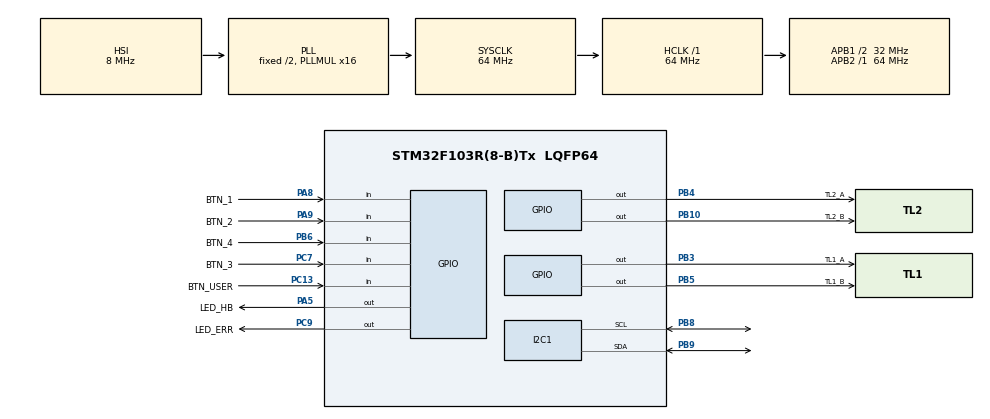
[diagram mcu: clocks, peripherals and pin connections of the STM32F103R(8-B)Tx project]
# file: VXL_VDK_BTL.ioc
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Mcu.Family=STM32F1
Mcu.Name=STM32F103R(8-B)Tx
Mcu.Package=LQFP64
NVIC.PriorityGroup=NVIC_PRIORITYGROUP_4
NVIC.TIM2_IRQn=true\:0\:0\:false\:false\:true\:true\:true
PA13.GPIO_Label=TMS
PA13.Mode=Serial_Wire
PA13.Signal=SYS_JTMS-SWDIO
PA14.GPIO_Label=TCK
PA14.Mode=Serial_Wire
PA14.Signal=SYS_JTCK-SWCLK
PA2.GPIO_Label=USART_TX
PA2.GPIO_Mode=GPIO_MODE_AF_PP
PA2.GPIO_PuPd=GPIO_NOPULL
PA2.GPIO_Speed=GPIO_SPEED_FREQ_LOW
PA2.Signal=USART2_TX
PA3.GPIO_Label=USART_RX
PA3.GPIO_Mode=GPIO_MODE_AF_PP
PA3.GPIO_PuPd=GPIO_NOPULL
PA3.GPIO_Speed=GPIO_SPEED_FREQ_LOW
PA3.Signal=USART2_RX
PA5.GPIO_Label=LED_HB
PA5.GPIO_ModeDefaultOutputPP=GPIO_MODE_OUTPUT_PP
PA5.GPIO_PuPd=GPIO_NOPULL
PA5.GPIO_Speed=GPIO_SPEED_FREQ_LOW
PA5.Signal=GPIO_Output
PA8.GPIO_Label=BTN_1
PA8.GPIO_PuPd=GPIO_PULLUP
PA8.Signal=GPIO_Input
PA9.GPIO_Label=BTN_2
PA9.GPIO_PuPd=GPIO_PULLUP
PA9.Signal=GPIO_Input
PB10.GPIO_Label=TL2_B
PB10.Signal=GPIO_Output
PB3.GPIO_Label=TL1_A
PB3.Signal=GPIO_Output
PB4.GPIO_Label=TL2_A
PB4.Signal=GPIO_Output
PB5.GPIO_Label=TL1_B
PB5.Signal=GPIO_Output
PB6.GPIO_Label=BTN_4
PB6.GPIO_PuPd=GPIO_PULLUP
PB6.Signal=GPIO_Input
PB8.Mode=I2C
PB8.Signal=I2C1_SCL
PB9.Mode=I2C
PB9.Signal=I2C1_SDA
PC13-TAMPER-RTC.GPIO_Label=BTN_USER
PC13-TAMPER-RTC.Signal=GPIO_Input
PC14-OSC32_IN.Signal=RCC_OSC32_IN
PC15-OSC32_OUT.Signal=RCC_OSC32_OUT
PC7.GPIO_Label=BTN_3
PC7.GPIO_PuPd=GPIO_PULLUP
PC7.Signal=GPIO_Input
PC9.GPIO_Label=LED_ERR
PC9.Signal=GPIO_Output
PD0-OSC_IN.Signal=RCC_OSC_IN
PD1-OSC_OUT.Signal=RCC_OSC_OUT
ProjectManager.HeapSize=0x200
ProjectManager.StackSize=0x400
ProjectManager.TargetToolchain=STM32CubeIDE
RCC.AHBFreq_Value=64000000
RCC.APB1CLKDivider=RCC_HCLK_DIV2
RCC.APB1Freq_Value=32000000
RCC.APB1TimFreq_Value=64000000
RCC.APB2Freq_Value=64000000
RCC.APB2TimFreq_Value=64000000
RCC.HCLKFreq_Value=64000000
RCC.PLLMUL=RCC_PLL_MUL16
RCC.SYSCLKFreq_VALUE=64000000
RCC.SYSCLKSource=RCC_SYSCLKSOURCE_PLLCLK
RCC.USBFreq_Value=64000000
TIM2.Period=99
TIM2.Prescaler=6399
VP_TIM2_VS_ClockSourceINT.Mode=Internal
board=NUCLEO-F103RB

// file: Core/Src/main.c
/* USER CODE BEGIN Header */
/**
  ******************************************************************************
  * @file           : main.c
  * @brief          : Main program body
  ******************************************************************************
  * @attention
  *
  * <h2><center>&copy; Copyright (c) 2026 STMicroelectronics.
  * All rights reserved.</center></h2>
  *
  * This software component is licensed by ST under BSD 3-Clause license,
  * the "License"; You may not use this file except in compliance with the
  * License. You may obtain a copy of the License at:
  *                        opensource.org/licenses/BSD-3-Clause
  *
  ******************************************************************************
  */
/* USER CODE END Header */
#include "main.h"

/* USER CODE BEGIN Includes */
#include "global.h"
#include "scheduler.h"
#include "software_timer.h"
#include "button.h"
#include "traffic_light.h"
#include "i2c_bus.h"
#include "lcd.h"
#include "dht20.h"
#include "display.h"
#include "fsm_mode.h"
/* USER CODE END Includes */

I2C_HandleTypeDef hi2c1;

TIM_HandleTypeDef htim2;

void SystemClock_Config(void);
static void MX_GPIO_Init(void);
static void MX_I2C1_Init(void);
static void MX_TIM2_Init(void);

/* USER CODE BEGIN 0 */
void heartbeat(void) {
	HAL_GPIO_TogglePin(LED_HB_GPIO_Port, LED_HB_Pin);
}
/* USER CODE END 0 */

int main(void)
{

  /* MCU Configuration--------------------------------------------------------*/

  /* Reset of all peripherals, Initializes the Flash interface and the Systick. */
  HAL_Init();

  /* Configure the system clock */
  SystemClock_Config();

  /* Initialize all configured peripherals */
  MX_GPIO_Init();
  MX_I2C1_Init();
  MX_TIM2_Init();
  /* USER CODE BEGIN 2 */
  i2c_bus_recover();
  lcd_init();
  dht20_init();
  display_init();
  lcd_flush_all();
  timer_init();
  button_init();
  traffic_init();
  SCH_Init();
  SCH_Add_Task(timer_run, 0, 1);
  SCH_Add_Task(button_read, 0, 1);
  SCH_Add_Task(fsm_mode_run, 1, 1);
  SCH_Add_Task(display_update, 3, 25);
  SCH_Add_Task(lcd_flush, 5, 1);
  SCH_Add_Task(dht20_trigger, 100, 200);
  SCH_Add_Task(heartbeat, 0, 50);
  fsm_mode_init();
  HAL_TIM_Base_Start_IT(&htim2);
  /* USER CODE END 2 */

  /* Infinite loop */
  while (1)
  {

    /* USER CODE BEGIN 3 */
	  SCH_Dispatch_Tasks();
  }
  /* USER CODE END 3 */
}

void SystemClock_Config(void)
{
  RCC_OscInitTypeDef RCC_OscInitStruct = {0};
  RCC_ClkInitTypeDef RCC_ClkInitStruct = {0};

  /** Initializes the RCC Oscillators according to the specified parameters
  * in the RCC_OscInitTypeDef structure.
  */
  RCC_OscInitStruct.OscillatorType = RCC_OSCILLATORTYPE_HSI;
  RCC_OscInitStruct.HSIState = RCC_HSI_ON;
  RCC_OscInitStruct.HSICalibrationValue = RCC_HSICALIBRATION_DEFAULT;
  RCC_OscInitStruct.PLL.PLLState = RCC_PLL_ON;
  RCC_OscInitStruct.PLL.PLLSource = RCC_PLLSOURCE_HSI_DIV2;
  RCC_OscInitStruct.PLL.PLLMUL = RCC_PLL_MUL16;
  if (HAL_RCC_OscConfig(&RCC_OscInitStruct) != HAL_OK)
  {
    Error_Handler();
  }
  /** Initializes the CPU, AHB and APB buses clocks
  */
  RCC_ClkInitStruct.ClockType = RCC_CLOCKTYPE_HCLK|RCC_CLOCKTYPE_SYSCLK
                              |RCC_CLOCKTYPE_PCLK1|RCC_CLOCKTYPE_PCLK2;
  RCC_ClkInitStruct.SYSCLKSource = RCC_SYSCLKSOURCE_PLLCLK;
  RCC_ClkInitStruct.AHBCLKDivider = RCC_SYSCLK_DIV1;
  RCC_ClkInitStruct.APB1CLKDivider = RCC_HCLK_DIV2;
  RCC_ClkInitStruct.APB2CLKDivider = RCC_HCLK_DIV1;

  if (HAL_RCC_ClockConfig(&RCC_ClkInitStruct, FLASH_LATENCY_2) != HAL_OK)
  {
    Error_Handler();
  }
}

static void MX_I2C1_Init(void)
{

  hi2c1.Instance = I2C1;
  hi2c1.Init.ClockSpeed = 100000;
  hi2c1.Init.DutyCycle = I2C_DUTYCYCLE_2;
  hi2c1.Init.OwnAddress1 = 0;
  hi2c1.Init.AddressingMode = I2C_ADDRESSINGMODE_7BIT;
  hi2c1.Init.DualAddressMode = I2C_DUALADDRESS_DISABLE;
  hi2c1.Init.OwnAddress2 = 0;
  hi2c1.Init.GeneralCallMode = I2C_GENERALCALL_DISABLE;
  hi2c1.Init.NoStretchMode = I2C_NOSTRETCH_DISABLE;
  if (HAL_I2C_Init(&hi2c1) != HAL_OK)
  {
    Error_Handler();
  }

}

static void MX_TIM2_Init(void)
{

  TIM_ClockConfigTypeDef sClockSourceConfig = {0};
  TIM_MasterConfigTypeDef sMasterConfig = {0};

  htim2.Instance = TIM2;
  htim2.Init.Prescaler = 6399;
  htim2.Init.CounterMode = TIM_COUNTERMODE_UP;
  htim2.Init.Period = 99;
  htim2.Init.ClockDivision = TIM_CLOCKDIVISION_DIV1;
  htim2.Init.AutoReloadPreload = TIM_AUTORELOAD_PRELOAD_DISABLE;
  if (HAL_TIM_Base_Init(&htim2) != HAL_OK)
  {
    Error_Handler();
  }
  sClockSourceConfig.ClockSource = TIM_CLOCKSOURCE_INTERNAL;
  if (HAL_TIM_ConfigClockSource(&htim2, &sClockSourceConfig) != HAL_OK)
  {
    Error_Handler();
  }
  sMasterConfig.MasterOutputTrigger = TIM_TRGO_RESET;
  sMasterConfig.MasterSlaveMode = TIM_MASTERSLAVEMODE_DISABLE;
  if (HAL_TIMEx_MasterConfigSynchronization(&htim2, &sMasterConfig) != HAL_OK)
  {
    Error_Handler();
  }

}

static void MX_GPIO_Init(void)
{
  GPIO_InitTypeDef GPIO_InitStruct = {0};

  /* GPIO Ports Clock Enable */
  __HAL_RCC_GPIOC_CLK_ENABLE();
  __HAL_RCC_GPIOD_CLK_ENABLE();
  __HAL_RCC_GPIOA_CLK_ENABLE();
  __HAL_RCC_GPIOB_CLK_ENABLE();

  /*Configure GPIO pin Output Level */
  HAL_GPIO_WritePin(LED_HB_GPIO_Port, LED_HB_Pin, GPIO_PIN_RESET);

  /*Configure GPIO pin Output Level */
  HAL_GPIO_WritePin(GPIOB, TL2_B_Pin|TL1_A_Pin|TL2_A_Pin|TL1_B_Pin, GPIO_PIN_RESET);

  /*Configure GPIO pin Output Level */
  HAL_GPIO_WritePin(LED_ERR_GPIO_Port, LED_ERR_Pin, GPIO_PIN_RESET);

  /*Configure GPIO pin : BTN_USER_Pin */
  GPIO_InitStruct.Pin = BTN_USER_Pin;
  GPIO_InitStruct.Mode = GPIO_MODE_INPUT;
  GPIO_InitStruct.Pull = GPIO_NOPULL;
  HAL_GPIO_Init(BTN_USER_GPIO_Port, &GPIO_InitStruct);

  /*Configure GPIO pins : USART_TX_Pin USART_RX_Pin */
  GPIO_InitStruct.Pin = USART_TX_Pin|USART_RX_Pin;
  GPIO_InitStruct.Mode = GPIO_MODE_AF_PP;
  GPIO_InitStruct.Speed = GPIO_SPEED_FREQ_LOW;
  HAL_GPIO_Init(GPIOA, &GPIO_InitStruct);

  /*Configure GPIO pin : LED_HB_Pin */
  GPIO_InitStruct.Pin = LED_HB_Pin;
  GPIO_InitStruct.Mode = GPIO_MODE_OUTPUT_PP;
  GPIO_InitStruct.Pull = GPIO_NOPULL;
  GPIO_InitStruct.Speed = GPIO_SPEED_FREQ_LOW;
  HAL_GPIO_Init(LED_HB_GPIO_Port, &GPIO_InitStruct);

  /*Configure GPIO pins : TL2_B_Pin TL1_A_Pin TL2_A_Pin TL1_B_Pin */
  GPIO_InitStruct.Pin = TL2_B_Pin|TL1_A_Pin|TL2_A_Pin|TL1_B_Pin;
  GPIO_InitStruct.Mode = GPIO_MODE_OUTPUT_PP;
  GPIO_InitStruct.Pull = GPIO_NOPULL;
  GPIO_InitStruct.Speed = GPIO_SPEED_FREQ_LOW;
  HAL_GPIO_Init(GPIOB, &GPIO_InitStruct);

  /*Configure GPIO pin : BTN_3_Pin */
  GPIO_InitStruct.Pin = BTN_3_Pin;
  GPIO_InitStruct.Mode = GPIO_MODE_INPUT;
  GPIO_InitStruct.Pull = GPIO_PULLUP;
  HAL_GPIO_Init(BTN_3_GPIO_Port, &GPIO_InitStruct);

  /*Configure GPIO pin : LED_ERR_Pin */
  GPIO_InitStruct.Pin = LED_ERR_Pin;
  GPIO_InitStruct.Mode = GPIO_MODE_OUTPUT_PP;
  GPIO_InitStruct.Pull = GPIO_NOPULL;
  GPIO_InitStruct.Speed = GPIO_SPEED_FREQ_LOW;
  HAL_GPIO_Init(LED_ERR_GPIO_Port, &GPIO_InitStruct);

  /*Configure GPIO pins : BTN_1_Pin BTN_2_Pin */
  GPIO_InitStruct.Pin = BTN_1_Pin|BTN_2_Pin;
  GPIO_InitStruct.Mode = GPIO_MODE_INPUT;
  GPIO_InitStruct.Pull = GPIO_PULLUP;
  HAL_GPIO_Init(GPIOA, &GPIO_InitStruct);

  /*Configure GPIO pin : BTN_4_Pin */
  GPIO_InitStruct.Pin = BTN_4_Pin;
  GPIO_InitStruct.Mode = GPIO_MODE_INPUT;
  GPIO_InitStruct.Pull = GPIO_PULLUP;
  HAL_GPIO_Init(BTN_4_GPIO_Port, &GPIO_InitStruct);

}

/* USER CODE BEGIN 4 */
void HAL_TIM_PeriodElapsedCallback(TIM_HandleTypeDef *htim) {
	if (htim->Instance == TIM2) {
		SCH_Update();
	}
}
/* USER CODE END 4 */

void Error_Handler(void)
{
  __disable_irq();
  while (1)
  {
  }
}

/************************ (C) COPYRIGHT STMicroelectronics *****END OF FILE****/
